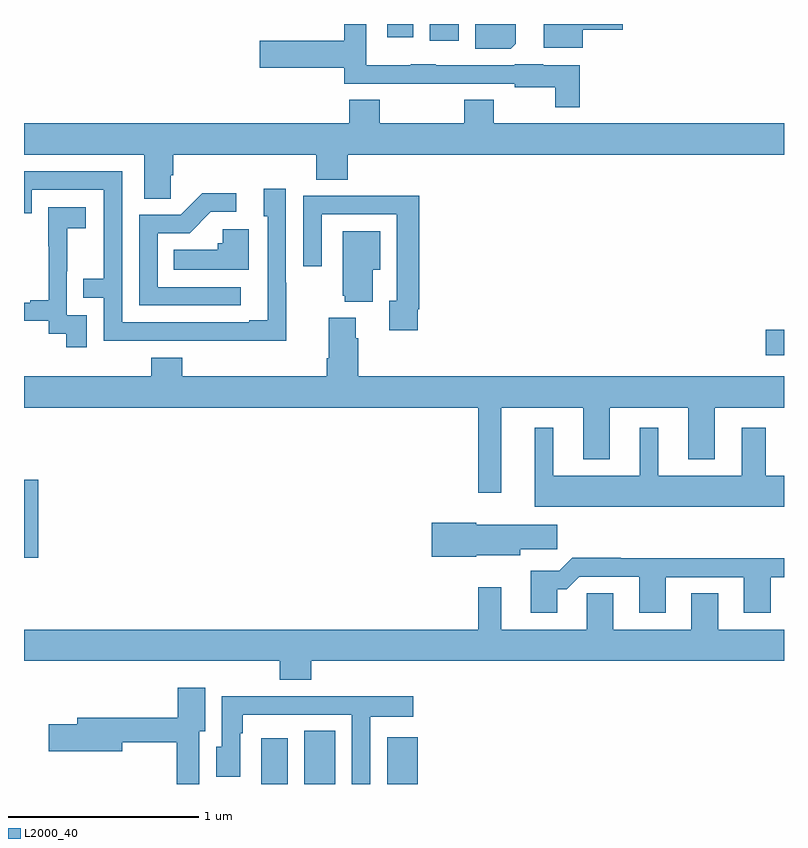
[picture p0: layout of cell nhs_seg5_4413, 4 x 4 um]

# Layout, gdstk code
import gdstk
lib = gdstk.Library(unit=1e-6, precision=1e-09)
def R(c, l, rs):  # rectangles x0, y0, x1, y1
    for r in rs: c.add(gdstk.rectangle(r[:2], r[2:], *l))
def P(c, l, *ps):  # polygons
    for p in ps: c.add(gdstk.Polygon(p, *l))
L2000_40 = (2000, 40)

nhs_seg5_4413 = lib.new_cell('nhs_seg5_4413')
R(nhs_seg5_4413, L2000_40, [(372.248,834.799,372.388,835.039), (372.476,834.799,372.637,835.079), (372.911,834.799,373.072,835.045), (371,835.991,371.074,836.401), (374.904,837.056,375,837.191), (373.136,838.71,373.288,838.799), (372.911,838.728,373.048,838.799)])
P(nhs_seg5_4413, L2000_40, [(373.942,838.769),(374.152,838.769),(374.152,838.799),(373.736,838.799),(373.736,838.673),(373.942,838.673)],
  [(373.925,838.582),(373.734,838.582),(373.734,838.588),(373.584,838.588),(373.584,838.581),(373.167,838.581),(373.167,838.588),(373.035,838.588),(373.035,838.582),(372.801,838.582),(372.801,838.799),(372.685,838.799),(372.685,838.712),(372.24,838.712),(372.24,838.57),(372.685,838.57),(372.685,838.485),(372.935,838.485),(372.935,838.484),(373.167,838.484),(373.167,838.485),(373.584,838.485),(373.584,838.466),(373.797,838.466),(373.797,838.361),(373.925,838.361)],
  [(373.588,838.696),(373.588,838.799),(373.376,838.799),(373.376,838.67),(373.562,838.67)],
  [(371.772,838.003),(371.786,838.003),(371.786,838.112),(372.539,838.112),(372.539,837.979),(372.704,837.979),(372.704,838.112),(375,838.112),(375,838.276),(373.473,838.276),(373.473,838.4),(373.318,838.4),(373.318,838.276),(372.873,838.276),(372.873,838.4),(372.713,838.4),(372.713,838.276),(371,838.276),(371,838.112),(371.633,838.112),(371.633,837.88),(371.772,837.88)],
  [(372.381,837.437),(372.378,837.437),(372.378,837.931),(372.263,837.931),(372.263,837.786),(372.282,837.786),(372.282,837.241),(372.185,837.241),(372.185,837.228),(371.517,837.228),(371.517,838.023),(371,838.023),(371,837.804),(371.04,837.804),(371.04,837.927),(371.421,837.927),(371.421,837.458),(371.311,837.458),(371.311,837.357),(371.421,837.357),(371.421,837.132),(371.917,837.132),(371.917,837.131),(372.381,837.131)],
  [(372.142,837.414),(371.703,837.414),(371.703,837.699),(371.872,837.699),(371.983,837.81),(372.118,837.81),(372.118,837.908),(371.939,837.908),(371.826,837.795),(371.607,837.795),(371.607,837.318),(372.142,837.318)],
  [(373.072,837.298),(373.079,837.298),(373.079,837.896),(372.787,837.896),(372.787,837.894),(372.471,837.894),(372.471,837.525),(372.567,837.525),(372.567,837.798),(372.963,837.798),(372.963,837.342),(372.923,837.342),(372.923,837.186),(373.072,837.186)],
  [(371.331,837.267),(371.226,837.267),(371.226,837.497),(371.228,837.497),(371.228,837.725),(371.326,837.725),(371.326,837.835),(371.128,837.835),(371.128,837.629),(371.129,837.629),(371.129,837.346),(371.033,837.346),(371.033,837.333),(371,837.333),(371,837.237),(371.13,837.237),(371.13,837.169),(371.223,837.169),(371.223,837.099),(371.331,837.099)],
  [(372.184,837.718),(372.045,837.718),(372.045,837.645),(372.019,837.645),(372.019,837.61),(371.788,837.61),(371.788,837.506),(372.184,837.506)],
  [(372.835,837.506),(372.874,837.506),(372.874,837.709),(372.677,837.709),(372.677,837.369),(372.689,837.369),(372.689,837.338),(372.835,837.338)],
  [(373.513,836.78),(373.943,836.78),(373.943,836.507),(374.083,836.507),(374.083,836.78),(374.495,836.78),(374.495,836.507),(374.635,836.507),(374.635,836.78),(375,836.78),(375,836.944),(372.758,836.944),(372.758,837.146),(372.745,837.146),(372.745,837.253),(372.605,837.253),(372.605,837.04),(372.593,837.04),(372.593,836.944),(371.834,836.944),(371.834,837.043),(371.669,837.043),(371.669,836.944),(371,836.944),(371,836.78),(373.392,836.78),(373.392,836.331),(373.513,836.331)],
  [(375,836.422),(374.905,836.422),(374.905,836.674),(374.777,836.674),(374.777,836.422),(374.338,836.422),(374.338,836.674),(374.24,836.674),(374.24,836.422),(373.786,836.422),(373.786,836.674),(373.688,836.674),(373.688,836.258),(375,836.258)],
  [(373.38,836.003),(373.612,836.003),(373.612,836.035),(373.807,836.035),(373.807,836.164),(373.38,836.164),(373.38,836.174),(373.146,836.174),(373.146,835.996),(373.38,835.996)],
  [(373.807,835.823),(373.856,835.823),(373.923,835.89),(374.237,835.89),(374.237,835.701),(374.377,835.701),(374.377,835.887),(374.789,835.887),(374.789,835.701),(374.929,835.701),(374.929,835.887),(375,835.887),(375,835.988),(374.141,835.988),(374.141,835.991),(373.886,835.991),(373.816,835.921),(373.667,835.921),(373.667,835.701),(373.807,835.701)],
  [(372.512,835.448),(375,835.448),(375,835.612),(374.653,835.612),(374.653,835.802),(374.513,835.802),(374.513,835.612),(374.101,835.612),(374.101,835.802),(373.962,835.802),(373.962,835.612),(373.513,835.612),(373.513,835.834),(373.392,835.834),(373.392,835.612),(371,835.612),(371,835.448),(372.347,835.448),(372.347,835.349),(372.512,835.349)],
  [(371.923,835.077),(371.953,835.077),(371.953,835.306),(371.81,835.306),(371.81,835.147),(371.279,835.147),(371.279,835.113),(371.13,835.113),(371.13,834.971),(371.518,834.971),(371.518,835.018),(371.805,835.018),(371.805,834.799),(371.923,834.799)],
  [(372.822,835.154),(373.048,835.154),(373.048,835.262),(372.629,835.262),(372.629,835.26),(372.263,835.26),(372.263,835.262),(372.042,835.262),(372.042,834.996),(372.011,834.996),(372.011,834.837),(372.138,834.837),(372.138,835.067),(372.151,835.067),(372.151,835.164),(372.726,835.164),(372.726,834.799),(372.822,834.799)])

lib.write_gds('nhs_seg5_4413.gds')
